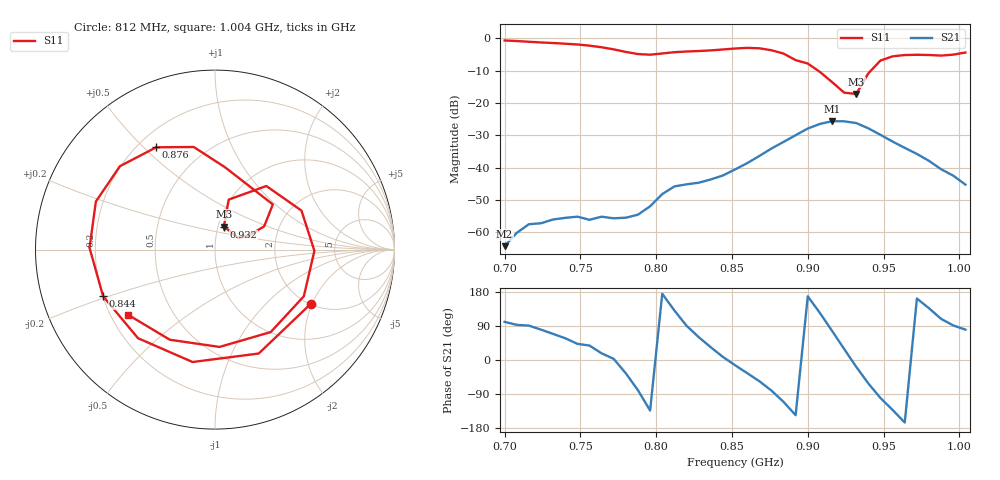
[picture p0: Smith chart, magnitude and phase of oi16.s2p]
# Hz S RI R 50
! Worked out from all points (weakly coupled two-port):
!   39 points, 700 MHz to 1.004 GHz, reference 50 ohm
!   highest |S21| = -25.64 dB at 916 MHz (marker M1); lowest = -64.4 dB at 700 MHz (marker M2)
!   lowest |S11| = -17.2 dB at 932 MHz (marker M3), VSWR 1.32, Z = 53.4 + j14 ohm
!   |S11| at or under -10 dB: 906.9 MHz to 941.6 MHz (34.72 MHz wide, 3.76 % of centre)
!   S12 and S22 are empty: the file has one direction only
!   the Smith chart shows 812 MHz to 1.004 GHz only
!   S11 on the Smith chart (normalised r, x): 812 MHz: 2.01, -1.95; 844 MHz: 0.20, -0.19; 876 MHz: 0.27, +0.55; 932 MHz: 1.07, +0.28; 1.004 GHz: 0.27, -0.31
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7e8  0.7686 0.527  -0.000111 0.000593  0 0  0 0
7.24e8  0.829 -0.2556  0.000234 0.00135  0 0  0 0
7.4e8  0.4453 -0.6998  0.000893 0.0014  0 0  0 0
7.56e8  -0.1948 -0.7494  0.00122 0.000956  0 0  0 0
7.72e8  -0.6512 -0.1904  0.00163 8.19e-05  0 0  0 0
7.8e8  -0.5741 0.2295  0.00136 -0.000964  0 0  0 0
7.88e8  -0.2205 0.5295  0.000327 -0.00183  0 0  0 0
7.96e8  0.2601 0.4965  -0.00172 -0.00182  0 0  0 0
8.04e8  0.5682 0.141  -0.00386 0.000351  0 0  0 0
8.12e8  0.5328 -0.3028  -0.00332 0.00385  0 0  0 0
8.28e8  -0.1249 -0.6263  0.00286 0.00506  0 0  0 0
8.44e8  -0.6232 -0.2605  0.00744 0.00108  0 0  0 0
8.52e8  -0.6991 0.01  0.00906 -0.0022  0 0  0 0
8.76e8  -0.3276 0.57  0.00323 -0.0194  0 0  0 0
9e8  0.3222 0.2517  -0.0393 0.00834  0 0  0 0
9.08e8  0.2741 0.1297  -0.0266 0.0391  0 0  0 0
9.16e8  0.1949 0.0815  0.0117 0.0509  0 0  0 0
9.32e8  0.0499 0.1287  0.0464 -0.0152  0 0  0 0
9.48e8  0.286 0.3544  -0.00581 -0.0316  0 0  0 0
9.56e8  0.4818 0.2171  -0.0168 -0.0188  0 0  0 0
9.8e8  0.3106 -0.4594  -0.00919 0.00872  0 0  0 0
1.004e9  -0.4851 -0.3627  0.00093 0.00536  0 0  0 0
